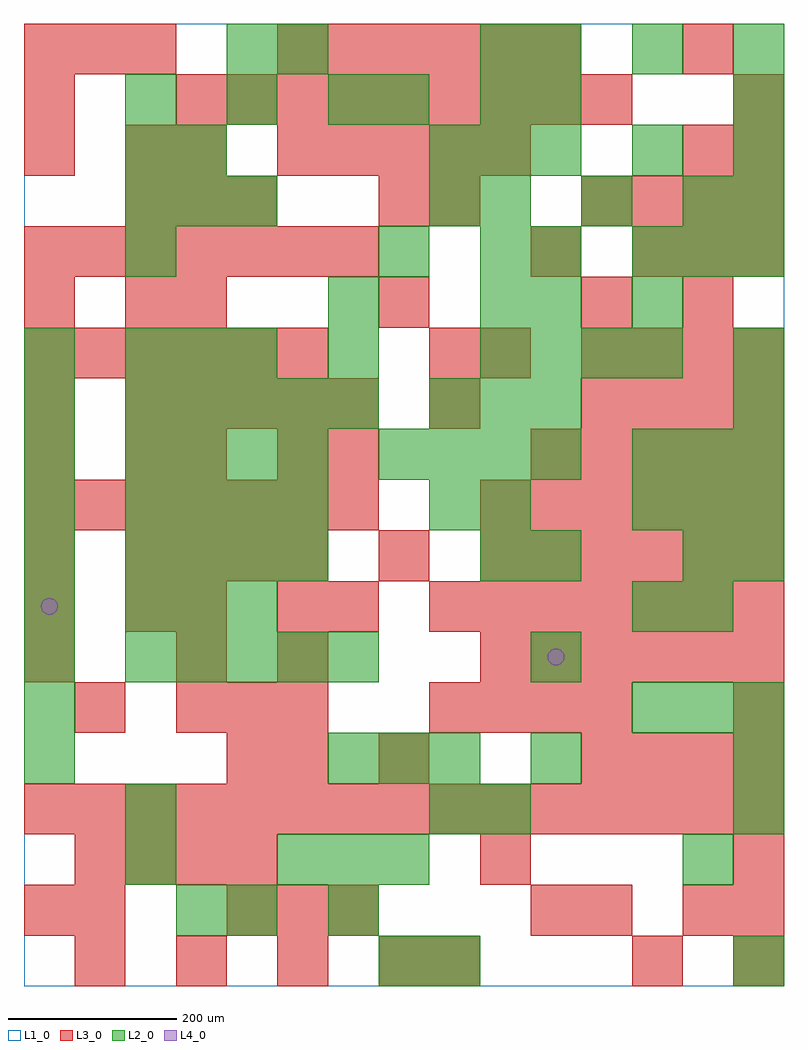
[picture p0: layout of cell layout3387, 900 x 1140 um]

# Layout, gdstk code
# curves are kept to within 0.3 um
import gdstk
lib = gdstk.Library(unit=1e-6, precision=1e-09)
def R(c, l, rs):  # rectangles x0, y0, x1, y1
    for r in rs: c.add(gdstk.rectangle(r[:2], r[2:], *l))
def A(c, l, x, y, w, h, nx, ny, dx, dy):  # array of equal rectangles
    R(c, l, [(x+i*dx, y+j*dy, x+i*dx+w, y+j*dy+h) for i in range(nx) for j in range(ny)])
def P(c, l, *ps):  # polygons
    for p in ps: c.add(gdstk.Polygon(p, *l))
L1_0 = (1, 0)
L2_0 = (2, 0)
L3_0 = (3, 0)
L4_0 = (4, 0)

layout3387 = lib.new_cell('layout3387')
R(layout3387, L1_0, [(0,0,900,1140)])
A(layout3387, L2_0, 300, 120, 60, 60, 3, 1, 60, 0)
A(layout3387, L2_0, 480, 180, 60, 60, 1, 3, 0, 360)
A(layout3387, L2_0, 0, 240, 60, 60, 1, 9, 0, 60)
A(layout3387, L2_0, 360, 240, 60, 60, 3, 1, 60, 0)
A(layout3387, L2_0, 600, 240, 60, 60, 1, 3, 0, 120)
A(layout3387, L2_0, 720, 300, 60, 60, 3, 2, 60, 240)
A(layout3387, L2_0, 120, 360, 60, 60, 5, 2, 60, 300)
A(layout3387, L2_0, 120, 420, 60, 60, 3, 2, 60, 300)
A(layout3387, L2_0, 120, 480, 60, 60, 4, 3, 60, 60)
A(layout3387, L2_0, 420, 600, 60, 60, 4, 1, 60, 0)
A(layout3387, L2_0, 720, 600, 60, 60, 3, 2, 60, 240)
A(layout3387, L2_0, 480, 660, 60, 60, 3, 2, 60, 300)
A(layout3387, L2_0, 540, 720, 60, 60, 4, 1, 60, 0)
A(layout3387, L2_0, 120, 900, 60, 60, 3, 1, 60, 0)
A(layout3387, L2_0, 540, 900, 60, 60, 3, 1, 120, 0)
A(layout3387, L2_0, 840, 900, 60, 60, 1, 3, 0, 60)
A(layout3387, L2_0, 120, 1020, 60, 60, 3, 1, 120, 0)
A(layout3387, L2_0, 600, 1080, 60, 60, 3, 1, 120, 0)
R(layout3387, L2_0, [(420,0,480,60), (480,0,540,60), (840,0,900,60), (180,60,240,120), (240,60,300,120), (360,60,420,120), (120,120,180,180), (780,120,840,180), (120,180,180,240), (540,180,600,240), (840,180,900,240), (840,240,900,300), (720,420,780,480), (780,420,840,480), (540,480,600,540), (780,480,840,540), (840,480,900,540), (540,540,600,600), (840,660,900,720), (360,720,420,780), (840,720,900,780), (360,780,420,840), (540,780,600,840), (600,780,660,840), (720,780,780,840), (120,840,180,900), (420,840,480,900), (540,840,600,900), (600,840,660,900), (120,960,180,1020), (180,960,240,1020), (720,960,780,1020), (420,1020,480,1080), (540,1020,600,1080), (600,1020,660,1080), (240,1080,300,1140), (300,1080,360,1140), (540,1080,600,1140)])
A(layout3387, L3_0, 60, 0, 60, 60, 4, 1, 120, 0)
A(layout3387, L3_0, 840, 0, 60, 60, 1, 3, 0, 60)
A(layout3387, L3_0, 240, 60, 60, 60, 3, 1, 60, 0)
A(layout3387, L3_0, 60, 120, 60, 60, 4, 1, 60, 0)
A(layout3387, L3_0, 0, 180, 60, 60, 15, 1, 60, 0)
A(layout3387, L3_0, 660, 240, 60, 60, 4, 2, 60, 420)
A(layout3387, L3_0, 180, 300, 60, 60, 3, 1, 60, 0)
A(layout3387, L3_0, 480, 300, 60, 60, 4, 1, 60, 0)
A(layout3387, L3_0, 0, 360, 60, 60, 1, 3, 0, 60)
A(layout3387, L3_0, 540, 360, 60, 60, 6, 2, 60, 120)
A(layout3387, L3_0, 120, 420, 60, 60, 1, 4, 0, 180)
A(layout3387, L3_0, 480, 420, 60, 60, 7, 1, 60, 0)
A(layout3387, L3_0, 120, 480, 60, 60, 4, 1, 60, 0)
A(layout3387, L3_0, 0, 540, 60, 60, 7, 2, 60, 300)
A(layout3387, L3_0, 540, 540, 60, 60, 6, 1, 60, 0)
A(layout3387, L3_0, 600, 600, 60, 60, 5, 1, 60, 0)
A(layout3387, L3_0, 120, 660, 60, 60, 5, 1, 60, 0)
A(layout3387, L3_0, 0, 720, 60, 60, 6, 1, 60, 0)
A(layout3387, L3_0, 660, 720, 60, 60, 4, 2, 60, 180)
A(layout3387, L3_0, 180, 780, 60, 60, 3, 1, 240, 0)
A(layout3387, L3_0, 720, 840, 60, 60, 3, 1, 60, 0)
A(layout3387, L3_0, 120, 900, 60, 60, 3, 1, 60, 0)
A(layout3387, L3_0, 300, 960, 60, 60, 5, 1, 60, 0)
A(layout3387, L3_0, 180, 1020, 60, 60, 9, 1, 60, 0)
A(layout3387, L3_0, 0, 1080, 60, 60, 3, 1, 60, 0)
A(layout3387, L3_0, 300, 1080, 60, 60, 6, 1, 60, 0)
R(layout3387, L3_0, [(480,0,540,60), (720,0,780,60), (0,60,60,120), (60,60,120,120), (600,60,660,120), (660,60,720,120), (780,60,840,120), (540,120,600,180), (240,240,300,300), (300,240,360,300), (420,240,480,300), (60,300,120,360), (840,300,900,360), (180,360,240,420), (300,360,360,420), (180,420,240,480), (300,420,360,480), (360,420,420,480), (420,480,480,540), (0,600,60,660), (180,600,240,660), (300,600,360,660), (360,600,420,660), (0,660,60,720), (480,660,540,720), (480,720,540,780), (540,720,600,780), (0,780,60,840), (780,780,840,840), (600,840,660,900), (420,900,480,960), (480,900,540,960), (0,960,60,1020), (180,960,240,1020), (780,960,840,1020), (840,960,900,1020), (0,1020,60,1080), (840,1020,900,1080), (780,1080,840,1140)])
P(layout3387, L4_0, [(40,450),(39.239,453.827),(37.071,457.071),(33.827,459.239),(30,460),(26.173,459.239),(22.929,457.071),(20.761,453.827),(20,450),(20.761,446.173),(22.929,442.929),(26.173,440.761),(30,440),(33.827,440.761),(37.071,442.929),(39.239,446.173)],
  [(640,390),(639.239,393.827),(637.071,397.071),(633.827,399.239),(630,400),(626.173,399.239),(622.929,397.071),(620.761,393.827),(620,390),(620.761,386.173),(622.929,382.929),(626.173,380.761),(630,380),(633.827,380.761),(637.071,382.929),(639.239,386.173)])

lib.write_gds('layout3387.gds')
